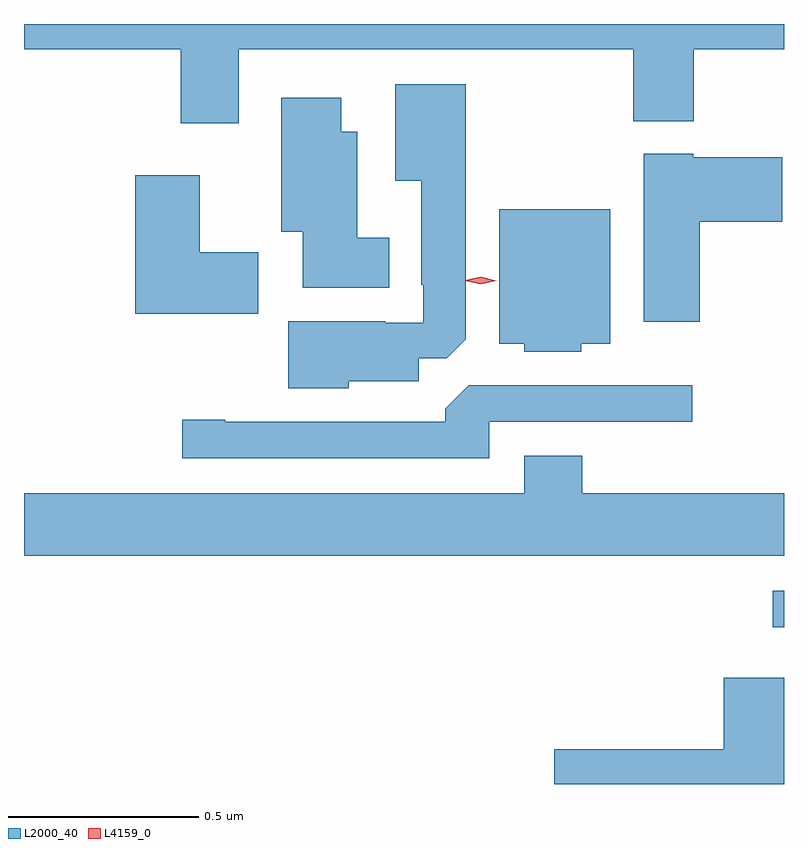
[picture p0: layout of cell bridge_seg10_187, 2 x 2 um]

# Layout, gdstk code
import gdstk
lib = gdstk.Library(unit=1e-6, precision=1e-09)
def R(c, l, rs):  # rectangles x0, y0, x1, y1
    for r in rs: c.add(gdstk.rectangle(r[:2], r[2:], *l))
def P(c, l, *ps):  # polygons
    for p in ps: c.add(gdstk.Polygon(p, *l))
L2000_40 = (2000, 40)
L4159_0 = (4159, 0)

bridge_seg10_187 = lib.new_cell('bridge_seg10_187')
R(bridge_seg10_187, L2000_40, [(169.242,1285.476,169.271,1285.572)])
P(bridge_seg10_187, L2000_40, [(167.271,1286.996),(167.684,1286.996),(167.684,1286.802),(167.836,1286.802),(167.836,1286.996),(168.874,1286.996),(168.874,1286.807),(169.034,1286.807),(169.034,1286.996),(169.271,1286.996),(169.271,1287.063),(167.271,1287.063)],
  [(168.126,1286.123),(168.31,1286.123),(168.31,1286.184),(168.384,1286.184),(168.433,1286.233),(168.433,1286.905),(168.248,1286.905),(168.248,1286.651),(168.317,1286.651),(168.317,1286.377),(168.321,1286.377),(168.321,1286.277),(168.221,1286.277),(168.221,1286.281),(167.966,1286.281),(167.966,1286.105),(168.126,1286.105)],
  [(168.232,1286.5),(168.148,1286.5),(168.148,1286.779),(168.106,1286.779),(168.106,1286.869),(167.948,1286.869),(167.948,1286.516),(168.005,1286.516),(168.005,1286.369),(168.232,1286.369)],
  [(169.049,1286.543),(169.267,1286.543),(169.267,1286.713),(169.032,1286.713),(169.032,1286.722),(168.902,1286.722),(168.902,1286.28),(169.049,1286.28)],
  [(167.887,1286.463),(167.734,1286.463),(167.734,1286.665),(167.564,1286.665),(167.564,1286.3),(167.887,1286.3)],
  [(168.738,1286.222),(168.814,1286.222),(168.814,1286.575),(168.521,1286.575),(168.521,1286.222),(168.588,1286.222),(168.588,1286.201),(168.738,1286.201)],
  [(168.495,1286.016),(169.03,1286.016),(169.03,1286.112),(168.441,1286.112),(168.38,1286.05),(168.38,1286.016),(167.8,1286.016),(167.8,1286.021),(167.688,1286.021),(167.688,1285.92),(168.495,1285.92)],
  [(169.271,1285.828),(168.74,1285.828),(168.74,1285.927),(168.587,1285.927),(168.587,1285.828),(167.271,1285.828),(167.271,1285.664),(169.271,1285.664)],
  [(169.271,1285.342),(169.112,1285.342),(169.112,1285.154),(168.666,1285.154),(168.666,1285.063),(169.271,1285.063)])
P(bridge_seg10_187, L4159_0, [(168.473,1286.378),(168.432,1286.388),(168.432,1286.388),(168.432,1286.389),(168.473,1286.398),(168.514,1286.387),(168.514,1286.387),(168.514,1286.387)])

lib.write_gds('bridge_seg10_187.gds')
